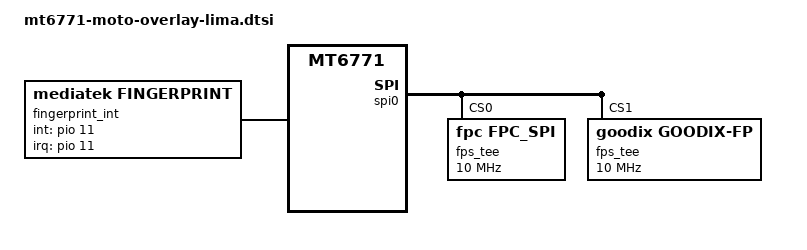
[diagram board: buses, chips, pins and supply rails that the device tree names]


&pio {
	fingerprint_irq: fingerprint_irq {
		pins_cmd_dat {
			pinmux = <PINMUX_GPIO11__FUNC_GPIO11>;
			slew-rate = <0>;
			bias-disable;
		};
	};

	fingerprint_reset_high: fingerprint_reset_high {
		pins_cmd_dat {
			pinmux = <PINMUX_GPIO178__FUNC_GPIO178>;
			slew-rate = <1>;
			output-high;
		};
	};

	fingerprint_reset_low: fingerprint_reset_low {
		pins_cmd_dat {
			pinmux = <PINMUX_GPIO178__FUNC_GPIO178>;
			slew-rate = <1>;
			output-low;
		};
	};

};



&goodix_fp{
	status = "disabled";
};

&odm {

	fingerprint_int: fingerprint_int {
		compatible = "mediatek,fingerprint";
		fpc,enable-wakeup;
		interrupt-parent = <&pio>;
		interrupts = <11 IRQ_TYPE_EDGE_RISING 11 0>;
		pinctrl-names = "fingerprint_irq", "fingerprint_reset_high", "fingerprint_reset_low";
		pinctrl-0 = <&fingerprint_irq>;
		pinctrl-1 = <&fingerprint_reset_high>;
		pinctrl-2 = <&fingerprint_reset_low>;
        int-gpios = <&pio 11 0>;
		status = "okay";
	};

};

&spi0 {
	mediatek,pad-select = <0>,<1>;
	#address-cells = <1>;
	#size-cells = <0>;

	fps_tee@0 {
		compatible = "fpc,fpc_spi";
		reg = <0>;
		fpc,enable-wakeup;
		spi-max-frequency = <10000000>;
		netlink-event = <31>;
		status = "okay";
	};

	fps_tee@1 {
		compatible = "goodix,goodix-fp";
		reg = <1>;
		spi-max-frequency = <10000000>;
		netlink-event = <31>;
		status = "okay";
	};
};



